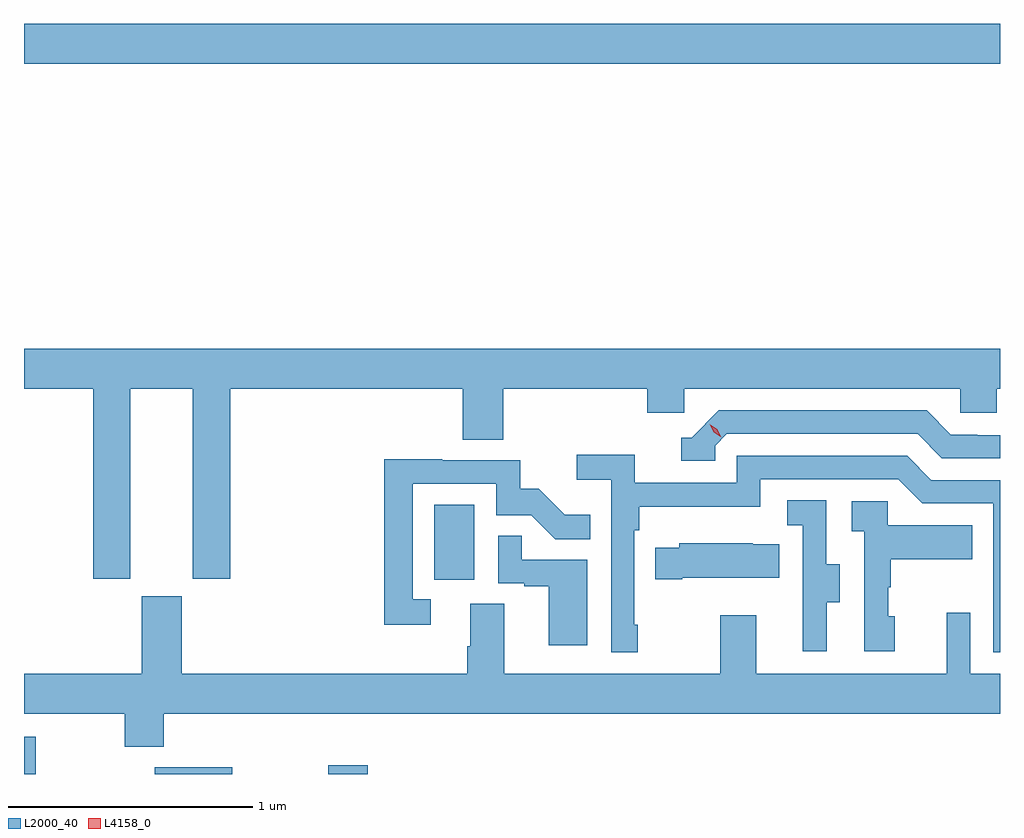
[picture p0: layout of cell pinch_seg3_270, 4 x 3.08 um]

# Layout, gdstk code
import gdstk
lib = gdstk.Library(unit=1e-6, precision=1e-09)
def R(c, l, rs):  # rectangles x0, y0, x1, y1
    for r in rs: c.add(gdstk.rectangle(r[:2], r[2:], *l))
def P(c, l, *ps):  # polygons
    for p in ps: c.add(gdstk.Polygon(p, *l))
L2000_40 = (2000, 40)
L4158_0 = (4158, 0)

pinch_seg3_270 = lib.new_cell('pinch_seg3_270')
R(pinch_seg3_270, L2000_40, [(900.012,712.656,900.061,712.809), (900.547,712.656,900.865,712.684), (901.259,712.656,901.42,712.693), (901.694,713.454,901.858,713.761), (900.012,715.568,904.012,715.732)])
P(pinch_seg3_270, L2000_40, [(900.448,714.236),(900.704,714.236),(900.704,713.457),(900.857,713.457),(900.857,714.236),(901.811,714.236),(901.811,714.028),(901.976,714.028),(901.976,714.236),(902.567,714.236),(902.567,714.138),(902.718,714.138),(902.718,714.236),(903.849,714.236),(903.849,714.138),(903.999,714.138),(903.999,714.236),(904.012,714.236),(904.012,714.4),(900.012,714.4),(900.012,714.236),(900.296,714.236),(900.296,713.457),(900.448,713.457)],
  [(902.844,714.003),(902.892,714.051),(903.675,714.051),(903.774,713.952),(904.012,713.952),(904.012,714.045),(903.918,714.045),(903.918,714.048),(903.811,714.048),(903.712,714.147),(902.859,714.147),(902.748,714.036),(902.705,714.036),(902.705,713.94),(902.844,713.94)],
  [(902.527,713.269),(902.514,713.269),(902.514,713.657),(902.534,713.657),(902.534,713.753),(903.03,713.753),(903.03,713.865),(903.594,713.865),(903.693,713.766),(903.984,713.766),(903.984,713.157),(904.012,713.157),(904.012,713.862),(903.73,713.862),(903.631,713.961),(902.934,713.961),(902.934,713.85),(902.516,713.85),(902.516,713.966),(902.277,713.966),(902.277,713.864),(902.418,713.864),(902.418,713.157),(902.527,713.157)],
  [(901.678,713.373),(901.605,713.373),(901.605,713.847),(901.947,713.847),(901.947,713.718),(902.091,713.718),(902.189,713.62),(902.333,713.62),(902.333,713.719),(902.229,713.719),(902.122,713.826),(902.046,713.826),(902.046,713.943),(901.727,713.943),(901.727,713.948),(901.489,713.948),(901.489,713.268),(901.678,713.268)],
  [(903.301,713.362),(903.355,713.362),(903.355,713.517),(903.3,713.517),(903.3,713.78),(903.141,713.78),(903.141,713.677),(903.204,713.677),(903.204,713.373),(903.203,713.373),(903.203,713.16),(903.301,713.16)],
  [(903.58,713.304),(903.555,713.304),(903.555,713.423),(903.565,713.423),(903.565,713.537),(903.899,713.537),(903.899,713.677),(903.552,713.677),(903.552,713.775),(903.405,713.775),(903.405,713.651),(903.456,713.651),(903.456,713.16),(903.58,713.16)],
  [(902.32,713.535),(902.051,713.535),(902.051,713.633),(901.956,713.633),(901.956,713.439),(902.063,713.439),(902.063,713.427),(902.162,713.427),(902.162,713.184),(902.32,713.184)],
  [(902.71,713.462),(903.107,713.462),(903.107,713.599),(902.999,713.599),(902.999,713.602),(902.697,713.602),(902.697,713.584),(902.599,713.584),(902.599,713.455),(902.71,713.455)],
  [(900.584,712.904),(904.012,712.904),(904.012,713.068),(903.891,713.068),(903.891,713.317),(903.794,713.317),(903.794,713.068),(903.013,713.068),(903.013,713.308),(902.866,713.308),(902.866,713.068),(901.981,713.068),(901.981,713.354),(901.841,713.354),(901.841,713.18),(901.829,713.18),(901.829,713.068),(900.658,713.068),(900.658,713.385),(900.494,713.385),(900.494,713.068),(900.012,713.068),(900.012,712.904),(900.424,712.904),(900.424,712.769),(900.584,712.769)])
P(pinch_seg3_270, L4158_0, [(902.869,714.038),(902.838,714.057),(902.822,714.09),(902.822,714.09),(902.822,714.09),(902.853,714.071),(902.869,714.038),(902.869,714.038)])

lib.write_gds('pinch_seg3_270.gds')
